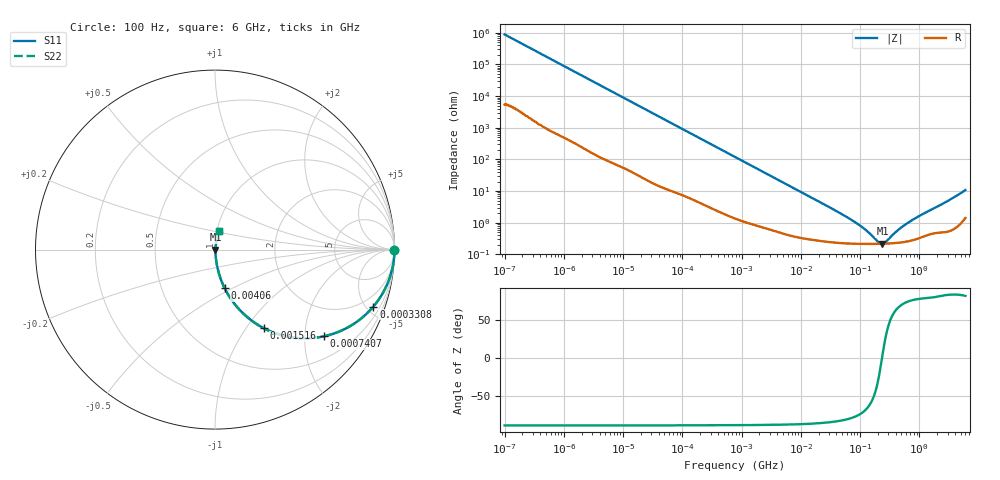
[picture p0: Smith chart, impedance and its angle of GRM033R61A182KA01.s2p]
!Murata Part Number: GRM033R61A182KA01
!These Parameters are Measured in Series Mode Connection
!Data Generated on Mar 30, 2021
!  o--ll--o
!Port1  Port2
!  o------o
!Operation Temp=25[degC], DC Bias Voltage=0[V]
!Freq. Start=100[Hz] Stop=6[GHz] 401[Steps]
# Hz S RI R 50
!Freq.(Hz) S11(Real) S11(Imag) S21(Real) S21(Imag) S12(Real) S12(Imag) S22(Real) S22(Imag)
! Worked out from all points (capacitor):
!   401 points, 100 Hz to 6 GHz, reference 50 ohm
!   read as one part in series: C = 1.79 nF near 109 Hz
!   lowest |Z| = 216 mohm at 238.8 MHz (marker M1)
!   series resonance near 234.9 MHz, so ESL is about 260 pH
!   S11 on the Smith chart (normalised r, x): 100 Hz: open; 330.8 kHz: 1.05, -5.53; 740.7 kHz: 1.03, -2.48; 1.516 MHz: 1.02, -1.22; 4.06 MHz: 1.01, -0.46; 6 GHz: 1.03, +0.21
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100  1 -0.000113  7e-07 0.000113  7e-07 0.000113  1 -0.000113
2008  1 -0.00224  1.72e-05 0.00224  1.72e-05 0.00224  1 -0.00224
40335  0.9977 -0.0444  0.00226 0.0444  0.00226 0.0444  0.9977 -0.0444
129199  0.9791 -0.1388  0.0209 0.1388  0.0209 0.1388  0.9791 -0.1388
330837  0.8821 -0.3177  0.1179 0.3177  0.1179 0.3177  0.8821 -0.3177
495019  0.7722 -0.4143  0.2278 0.4143  0.2278 0.4143  0.7722 -0.4143
740679  0.6053 -0.4832  0.3947 0.4832  0.3947 0.4832  0.6053 -0.4832
774597  0.584 -0.4872  0.416 0.4872  0.416 0.4872  0.584 -0.4872
1059725  0.4313 -0.489  0.5687 0.489  0.5687 0.489  0.4313 -0.489
1516199  0.2734 -0.4385  0.7266 0.4385  0.7266 0.4385  0.2734 -0.4385
2372521  0.1367 -0.3348  0.8633 0.3348  0.8633 0.3348  0.1367 -0.3348
4060267  0.0543 -0.2158  0.9457 0.2158  0.9457 0.2158  0.0543 -0.2158
1.555665e7  0.00645 -0.0597  0.9935 0.0597  0.9935 0.0597  0.00645 -0.0597
7.797396e7  0.00227 -0.0108  0.9977 0.0108  0.9977 0.0108  0.00227 -0.0108
1.275994e8  0.00215 -0.00525  0.9978 0.00525  0.9978 0.00525  0.00215 -0.00525
1.996653e8  0.00214 -0.00132  0.9979 0.00132  0.9979 0.00132  0.00214 -0.00132
2.388273e8  0.00215 0.000136  0.9978 -0.000136  0.9978 -0.000136  0.00215 0.000136
2.61201e8  0.00217 0.000862  0.9978 -0.000862  0.9978 -0.000862  0.00217 0.000862
3.124326e8  0.0022 0.00234  0.9978 -0.00234  0.9978 -0.00234  0.0022 0.00234
4.674818e8  0.00237 0.006  0.9976 -0.006  0.9976 -0.006  0.00237 0.006
7.31507e8  0.00283 0.0112  0.9972 -0.0112  0.9972 -0.0112  0.00283 0.0112
6e9  0.0246 0.1022  0.9754 -0.1022  0.9754 -0.1022  0.0246 0.1022
